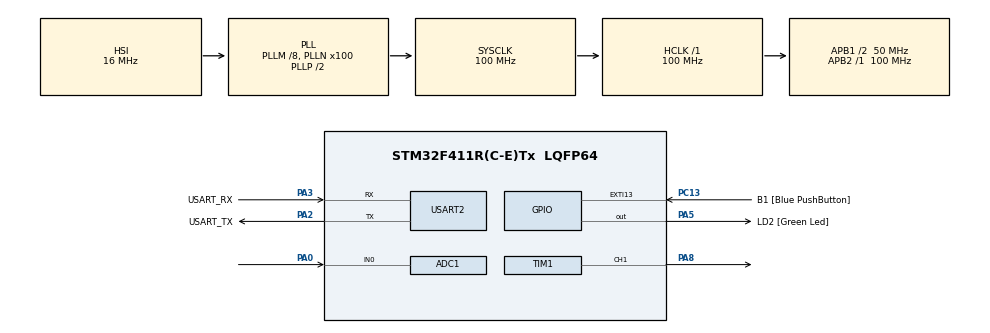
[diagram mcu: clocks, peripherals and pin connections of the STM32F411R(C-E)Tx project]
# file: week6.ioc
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ADC1.Channel-0\#ChannelRegularConversion=ADC_CHANNEL_0
ADC1.Channel-1\#ChannelRegularConversion=ADC_CHANNEL_0
ADC1.ExternalTrigConv=ADC_EXTERNALTRIGCONV_T3_TRGO
ADC1.NbrOfConversion=2
ADC1.NbrOfConversionFlag=1
ADC1.Rank-0\#ChannelRegularConversion=1
ADC1.Rank-1\#ChannelRegularConversion=2
ADC1.SamplingTime-0\#ChannelRegularConversion=ADC_SAMPLETIME_480CYCLES
ADC1.SamplingTime-1\#ChannelRegularConversion=ADC_SAMPLETIME_3CYCLES
ADC1.master=1
Mcu.Family=STM32F4
Mcu.Name=STM32F411R(C-E)Tx
Mcu.Package=LQFP64
NVIC.ADC_IRQn=true\:0\:0\:false\:false\:true\:true\:true
NVIC.PriorityGroup=NVIC_PRIORITYGROUP_0
PA0-WKUP.Signal=ADCx_IN0
PA13.GPIO_Label=TMS
PA13.Mode=Serial_Wire
PA13.Signal=SYS_JTMS-SWDIO
PA14.GPIO_Label=TCK
PA14.Mode=Serial_Wire
PA14.Signal=SYS_JTCK-SWCLK
PA2.GPIO_Label=USART_TX
PA2.Mode=Asynchronous
PA2.Signal=USART2_TX
PA3.GPIO_Label=USART_RX
PA3.Mode=Asynchronous
PA3.Signal=USART2_RX
PA5.GPIO_Label=LD2 [Green Led]
PA5.Signal=GPIO_Output
PA8.Signal=S_TIM1_CH1
PB3.GPIO_Label=SWO
PB3.Signal=SYS_JTDO-SWO
PC13-ANTI_TAMP.GPIO_Label=B1 [Blue PushButton]
PC13-ANTI_TAMP.GPIO_ModeDefaultEXTI=GPIO_MODE_IT_FALLING
PC13-ANTI_TAMP.Signal=GPXTI13
PC14-OSC32_IN.Mode=LSE-External-Oscillator
PC14-OSC32_IN.Signal=RCC_OSC32_IN
PC15-OSC32_OUT.Mode=LSE-External-Oscillator
PC15-OSC32_OUT.Signal=RCC_OSC32_OUT
PH0\ -\ OSC_IN.Mode=HSE-External-Clock-Source
PH0\ -\ OSC_IN.Signal=RCC_OSC_IN
PH1\ -\ OSC_OUT.Mode=HSE-External-Clock-Source
PH1\ -\ OSC_OUT.Signal=RCC_OSC_OUT
ProjectManager.HeapSize=0x200
ProjectManager.StackSize=0x400
ProjectManager.TargetToolchain=STM32CubeIDE
RCC.48MHZClocksFreq_Value=50000000
RCC.AHBFreq_Value=100000000
RCC.APB1CLKDivider=RCC_HCLK_DIV2
RCC.APB1Freq_Value=50000000
RCC.APB1TimFreq_Value=100000000
RCC.APB2Freq_Value=100000000
RCC.APB2TimFreq_Value=100000000
RCC.CortexFreq_Value=100000000
RCC.FLatency-AdvancedSettings=FLASH_LATENCY_3
RCC.HCLKFreq_Value=100000000
RCC.HSE_VALUE=8000000
RCC.HSI_VALUE=16000000
RCC.PLLM=8
RCC.PLLN=100
RCC.SYSCLKFreq_VALUE=100000000
RCC.SYSCLKSource=RCC_SYSCLKSOURCE_PLLCLK
RCC.VCOOutputFreq_Value=200000000
SH.ADCx_IN0.0=ADC1_IN0,IN0
SH.S_TIM1_CH1.0=TIM1_CH1,PWM Generation1 CH1
TIM1.Channel-PWM\ Generation1\ CH1=TIM_CHANNEL_1
TIM1.Period=10000
TIM11.Prescaler=99
TIM3.Period=1000
TIM3.Prescaler=99
TIM3.TIM_MasterOutputTrigger=TIM_TRGO_UPDATE
USART2.VirtualMode=VM_ASYNC
VP_TIM11_VS_ClockSourceINT.Mode=Enable_Timer
VP_TIM1_VS_ClockSourceINT.Mode=Internal
VP_TIM3_VS_ClockSourceINT.Mode=Internal
board=NUCLEO-F411RE

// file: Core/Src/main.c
/* USER CODE BEGIN Header */
/**
 ******************************************************************************
 * @file           : main.c
 * @brief          : Main program body
 ******************************************************************************
 * @attention
 *
 * <h2><center>&copy; Copyright (c) 2021 STMicroelectronics.
 * All rights reserved.</center></h2>
 *
 * This software component is licensed by ST under BSD 3-Clause license,
 * the "License"; You may not use this file except in compliance with the
 * License. You may obtain a copy of the License at:
 *                        opensource.org/licenses/BSD-3-Clause
 *
 ******************************************************************************
 */
/* USER CODE END Header */
#include "main.h"

ADC_HandleTypeDef hadc1;

TIM_HandleTypeDef htim1;
TIM_HandleTypeDef htim3;
TIM_HandleTypeDef htim11;

UART_HandleTypeDef huart2;

/* USER CODE BEGIN PV */

uint8_t ADCUpdateFlag = 0;
uint16_t ADCFeedBack = 0;
float Vout = 0;
float K_P = 0;
float K_I = 0;
float K_D = 0;
float Now_error = 0;
float Sum_error = 0;
float Pre_error = 0;
float PWMOut = 0;
//uint16_t PWMOut = 3000;

uint64_t _micro = 0;
uint64_t TimeOutputLoop = 0;
/* USER CODE END PV */

void SystemClock_Config(void);
static void MX_GPIO_Init(void);
static void MX_USART2_UART_Init(void);
static void MX_ADC1_Init(void);
static void MX_TIM1_Init(void);
static void MX_TIM3_Init(void);
static void MX_TIM11_Init(void);
/* USER CODE BEGIN PFP */
uint64_t micros();
/* USER CODE END PFP */

int main(void)
{

  /* MCU Configuration--------------------------------------------------------*/

  /* Reset of all peripherals, Initializes the Flash interface and the Systick. */
  HAL_Init();

  /* Configure the system clock */
  SystemClock_Config();

  /* Initialize all configured peripherals */
  MX_GPIO_Init();
  MX_USART2_UART_Init();
  MX_ADC1_Init();
  MX_TIM1_Init();
  MX_TIM3_Init();
  MX_TIM11_Init();
  /* USER CODE BEGIN 2 */
	HAL_ADC_Start_IT(&hadc1);
	HAL_TIM_Base_Start(&htim3);

	HAL_TIM_Base_Start(&htim1);
	HAL_TIM_PWM_Start(&htim1, TIM_CHANNEL_1);

	HAL_TIM_Base_Start_IT(&htim11);

  /* USER CODE END 2 */

  /* Infinite loop */
	while (1)
	{

    /* USER CODE BEGIN 3 */

		//1 Khz Loop
		if (micros() - TimeOutputLoop > 1000)
		{
//			if(ADCFeedBack >= 1255)
//			{
//				PWMOut = PWMOut - 10;
//			}
//			if(ADCFeedBack <= 1235)
//			{
//				PWMOut = PWMOut + 10;
//			}
//			if(ADCFeedBack <= 1255 && ADCFeedBack >= 1235)
//			{
//				PWMOut = PWMOut ;
//			}
//
//			TimeOutputLoop = micros();
//
//			// #001
//			__HAL_TIM_SET_COMPARE(&htim1, TIM_CHANNEL_1, PWMOut);
//			Vout = (ADCFeedBack*3.3)/4095;

			K_P = 10; K_I = 0.05; K_D = 2;
			Now_error = 1241 - ADCFeedBack;
			Sum_error += Now_error;
			PWMOut = (K_P*Now_error) + (K_I*Sum_error) + (K_D*(Now_error - Pre_error));

			__HAL_TIM_SET_COMPARE(&htim1, TIM_CHANNEL_1, PWMOut);
			Vout = (ADCFeedBack*3.3)/4095;

			Pre_error = Now_error;
		}

		if (ADCUpdateFlag)
		{
			ADCUpdateFlag = 0;
			//#002
		}

	}
  /* USER CODE END 3 */
}

void SystemClock_Config(void)
{
  RCC_OscInitTypeDef RCC_OscInitStruct = {0};
  RCC_ClkInitTypeDef RCC_ClkInitStruct = {0};

  /** Configure the main internal regulator output voltage
  */
  __HAL_RCC_PWR_CLK_ENABLE();
  __HAL_PWR_VOLTAGESCALING_CONFIG(PWR_REGULATOR_VOLTAGE_SCALE1);
  /** Initializes the RCC Oscillators according to the specified parameters
  * in the RCC_OscInitTypeDef structure.
  */
  RCC_OscInitStruct.OscillatorType = RCC_OSCILLATORTYPE_HSI;
  RCC_OscInitStruct.HSIState = RCC_HSI_ON;
  RCC_OscInitStruct.HSICalibrationValue = RCC_HSICALIBRATION_DEFAULT;
  RCC_OscInitStruct.PLL.PLLState = RCC_PLL_ON;
  RCC_OscInitStruct.PLL.PLLSource = RCC_PLLSOURCE_HSI;
  RCC_OscInitStruct.PLL.PLLM = 8;
  RCC_OscInitStruct.PLL.PLLN = 100;
  RCC_OscInitStruct.PLL.PLLP = RCC_PLLP_DIV2;
  RCC_OscInitStruct.PLL.PLLQ = 4;
  if (HAL_RCC_OscConfig(&RCC_OscInitStruct) != HAL_OK)
  {
    Error_Handler();
  }
  /** Initializes the CPU, AHB and APB buses clocks
  */
  RCC_ClkInitStruct.ClockType = RCC_CLOCKTYPE_HCLK|RCC_CLOCKTYPE_SYSCLK
                              |RCC_CLOCKTYPE_PCLK1|RCC_CLOCKTYPE_PCLK2;
  RCC_ClkInitStruct.SYSCLKSource = RCC_SYSCLKSOURCE_PLLCLK;
  RCC_ClkInitStruct.AHBCLKDivider = RCC_SYSCLK_DIV1;
  RCC_ClkInitStruct.APB1CLKDivider = RCC_HCLK_DIV2;
  RCC_ClkInitStruct.APB2CLKDivider = RCC_HCLK_DIV1;

  if (HAL_RCC_ClockConfig(&RCC_ClkInitStruct, FLASH_LATENCY_3) != HAL_OK)
  {
    Error_Handler();
  }
}

static void MX_ADC1_Init(void)
{

  ADC_ChannelConfTypeDef sConfig = {0};

  /** Configure the global features of the ADC (Clock, Resolution, Data Alignment and number of conversion)
  */
  hadc1.Instance = ADC1;
  hadc1.Init.ClockPrescaler = ADC_CLOCK_SYNC_PCLK_DIV4;
  hadc1.Init.Resolution = ADC_RESOLUTION_12B;
  hadc1.Init.ScanConvMode = ENABLE;
  hadc1.Init.ContinuousConvMode = DISABLE;
  hadc1.Init.DiscontinuousConvMode = DISABLE;
  hadc1.Init.ExternalTrigConvEdge = ADC_EXTERNALTRIGCONVEDGE_RISING;
  hadc1.Init.ExternalTrigConv = ADC_EXTERNALTRIGCONV_T3_TRGO;
  hadc1.Init.DataAlign = ADC_DATAALIGN_RIGHT;
  hadc1.Init.NbrOfConversion = 2;
  hadc1.Init.DMAContinuousRequests = DISABLE;
  hadc1.Init.EOCSelection = ADC_EOC_SINGLE_CONV;
  if (HAL_ADC_Init(&hadc1) != HAL_OK)
  {
    Error_Handler();
  }
  /** Configure for the selected ADC regular channel its corresponding rank in the sequencer and its sample time.
  */
  sConfig.Channel = ADC_CHANNEL_0;
  sConfig.Rank = 1;
  sConfig.SamplingTime = ADC_SAMPLETIME_480CYCLES;
  if (HAL_ADC_ConfigChannel(&hadc1, &sConfig) != HAL_OK)
  {
    Error_Handler();
  }
  /** Configure for the selected ADC regular channel its corresponding rank in the sequencer and its sample time.
  */
  sConfig.Rank = 2;
  sConfig.SamplingTime = ADC_SAMPLETIME_3CYCLES;
  if (HAL_ADC_ConfigChannel(&hadc1, &sConfig) != HAL_OK)
  {
    Error_Handler();
  }

}

static void MX_TIM1_Init(void)
{

  TIM_ClockConfigTypeDef sClockSourceConfig = {0};
  TIM_MasterConfigTypeDef sMasterConfig = {0};
  TIM_OC_InitTypeDef sConfigOC = {0};
  TIM_BreakDeadTimeConfigTypeDef sBreakDeadTimeConfig = {0};

  htim1.Instance = TIM1;
  htim1.Init.Prescaler = 0;
  htim1.Init.CounterMode = TIM_COUNTERMODE_UP;
  htim1.Init.Period = 10000;
  htim1.Init.ClockDivision = TIM_CLOCKDIVISION_DIV1;
  htim1.Init.RepetitionCounter = 0;
  htim1.Init.AutoReloadPreload = TIM_AUTORELOAD_PRELOAD_DISABLE;
  if (HAL_TIM_Base_Init(&htim1) != HAL_OK)
  {
    Error_Handler();
  }
  sClockSourceConfig.ClockSource = TIM_CLOCKSOURCE_INTERNAL;
  if (HAL_TIM_ConfigClockSource(&htim1, &sClockSourceConfig) != HAL_OK)
  {
    Error_Handler();
  }
  if (HAL_TIM_PWM_Init(&htim1) != HAL_OK)
  {
    Error_Handler();
  }
  sMasterConfig.MasterOutputTrigger = TIM_TRGO_RESET;
  sMasterConfig.MasterSlaveMode = TIM_MASTERSLAVEMODE_DISABLE;
  if (HAL_TIMEx_MasterConfigSynchronization(&htim1, &sMasterConfig) != HAL_OK)
  {
    Error_Handler();
  }
  sConfigOC.OCMode = TIM_OCMODE_PWM1;
  sConfigOC.Pulse = 0;
  sConfigOC.OCPolarity = TIM_OCPOLARITY_HIGH;
  sConfigOC.OCNPolarity = TIM_OCNPOLARITY_HIGH;
  sConfigOC.OCFastMode = TIM_OCFAST_DISABLE;
  sConfigOC.OCIdleState = TIM_OCIDLESTATE_RESET;
  sConfigOC.OCNIdleState = TIM_OCNIDLESTATE_RESET;
  if (HAL_TIM_PWM_ConfigChannel(&htim1, &sConfigOC, TIM_CHANNEL_1) != HAL_OK)
  {
    Error_Handler();
  }
  sBreakDeadTimeConfig.OffStateRunMode = TIM_OSSR_DISABLE;
  sBreakDeadTimeConfig.OffStateIDLEMode = TIM_OSSI_DISABLE;
  sBreakDeadTimeConfig.LockLevel = TIM_LOCKLEVEL_OFF;
  sBreakDeadTimeConfig.DeadTime = 0;
  sBreakDeadTimeConfig.BreakState = TIM_BREAK_DISABLE;
  sBreakDeadTimeConfig.BreakPolarity = TIM_BREAKPOLARITY_HIGH;
  sBreakDeadTimeConfig.AutomaticOutput = TIM_AUTOMATICOUTPUT_DISABLE;
  if (HAL_TIMEx_ConfigBreakDeadTime(&htim1, &sBreakDeadTimeConfig) != HAL_OK)
  {
    Error_Handler();
  }
  HAL_TIM_MspPostInit(&htim1);

}

static void MX_TIM3_Init(void)
{

  TIM_ClockConfigTypeDef sClockSourceConfig = {0};
  TIM_MasterConfigTypeDef sMasterConfig = {0};

  htim3.Instance = TIM3;
  htim3.Init.Prescaler = 99;
  htim3.Init.CounterMode = TIM_COUNTERMODE_UP;
  htim3.Init.Period = 1000;
  htim3.Init.ClockDivision = TIM_CLOCKDIVISION_DIV1;
  htim3.Init.AutoReloadPreload = TIM_AUTORELOAD_PRELOAD_DISABLE;
  if (HAL_TIM_Base_Init(&htim3) != HAL_OK)
  {
    Error_Handler();
  }
  sClockSourceConfig.ClockSource = TIM_CLOCKSOURCE_INTERNAL;
  if (HAL_TIM_ConfigClockSource(&htim3, &sClockSourceConfig) != HAL_OK)
  {
    Error_Handler();
  }
  sMasterConfig.MasterOutputTrigger = TIM_TRGO_UPDATE;
  sMasterConfig.MasterSlaveMode = TIM_MASTERSLAVEMODE_DISABLE;
  if (HAL_TIMEx_MasterConfigSynchronization(&htim3, &sMasterConfig) != HAL_OK)
  {
    Error_Handler();
  }

}

static void MX_TIM11_Init(void)
{

  htim11.Instance = TIM11;
  htim11.Init.Prescaler = 99;
  htim11.Init.CounterMode = TIM_COUNTERMODE_UP;
  htim11.Init.Period = 65535;
  htim11.Init.ClockDivision = TIM_CLOCKDIVISION_DIV1;
  htim11.Init.AutoReloadPreload = TIM_AUTORELOAD_PRELOAD_DISABLE;
  if (HAL_TIM_Base_Init(&htim11) != HAL_OK)
  {
    Error_Handler();
  }

}

static void MX_USART2_UART_Init(void)
{

  huart2.Instance = USART2;
  huart2.Init.BaudRate = 115200;
  huart2.Init.WordLength = UART_WORDLENGTH_8B;
  huart2.Init.StopBits = UART_STOPBITS_1;
  huart2.Init.Parity = UART_PARITY_NONE;
  huart2.Init.Mode = UART_MODE_TX_RX;
  huart2.Init.HwFlowCtl = UART_HWCONTROL_NONE;
  huart2.Init.OverSampling = UART_OVERSAMPLING_16;
  if (HAL_UART_Init(&huart2) != HAL_OK)
  {
    Error_Handler();
  }

}

static void MX_GPIO_Init(void)
{
  GPIO_InitTypeDef GPIO_InitStruct = {0};

  /* GPIO Ports Clock Enable */
  __HAL_RCC_GPIOC_CLK_ENABLE();
  __HAL_RCC_GPIOH_CLK_ENABLE();
  __HAL_RCC_GPIOA_CLK_ENABLE();
  __HAL_RCC_GPIOB_CLK_ENABLE();

  /*Configure GPIO pin Output Level */
  HAL_GPIO_WritePin(LD2_GPIO_Port, LD2_Pin, GPIO_PIN_RESET);

  /*Configure GPIO pin : B1_Pin */
  GPIO_InitStruct.Pin = B1_Pin;
  GPIO_InitStruct.Mode = GPIO_MODE_IT_FALLING;
  GPIO_InitStruct.Pull = GPIO_NOPULL;
  HAL_GPIO_Init(B1_GPIO_Port, &GPIO_InitStruct);

  /*Configure GPIO pin : LD2_Pin */
  GPIO_InitStruct.Pin = LD2_Pin;
  GPIO_InitStruct.Mode = GPIO_MODE_OUTPUT_PP;
  GPIO_InitStruct.Pull = GPIO_NOPULL;
  GPIO_InitStruct.Speed = GPIO_SPEED_FREQ_LOW;
  HAL_GPIO_Init(LD2_GPIO_Port, &GPIO_InitStruct);

}

/* USER CODE BEGIN 4 */

void HAL_ADC_ConvCpltCallback(ADC_HandleTypeDef *hadc)
{
	ADCFeedBack = HAL_ADC_GetValue(&hadc1);
	ADCUpdateFlag = 1;
}
void HAL_TIM_PeriodElapsedCallback(TIM_HandleTypeDef *htim)
{
	if (htim == &htim11)
	{
		_micro += 65535;
	}
}

__inline__ uint64_t micros()
{
	return _micro + htim11.Instance->CNT;
}
/* USER CODE END 4 */

void Error_Handler(void)
{
	__disable_irq();
	while (1) {
	}
}

/************************ (C) COPYRIGHT STMicroelectronics *****END OF FILE****/
